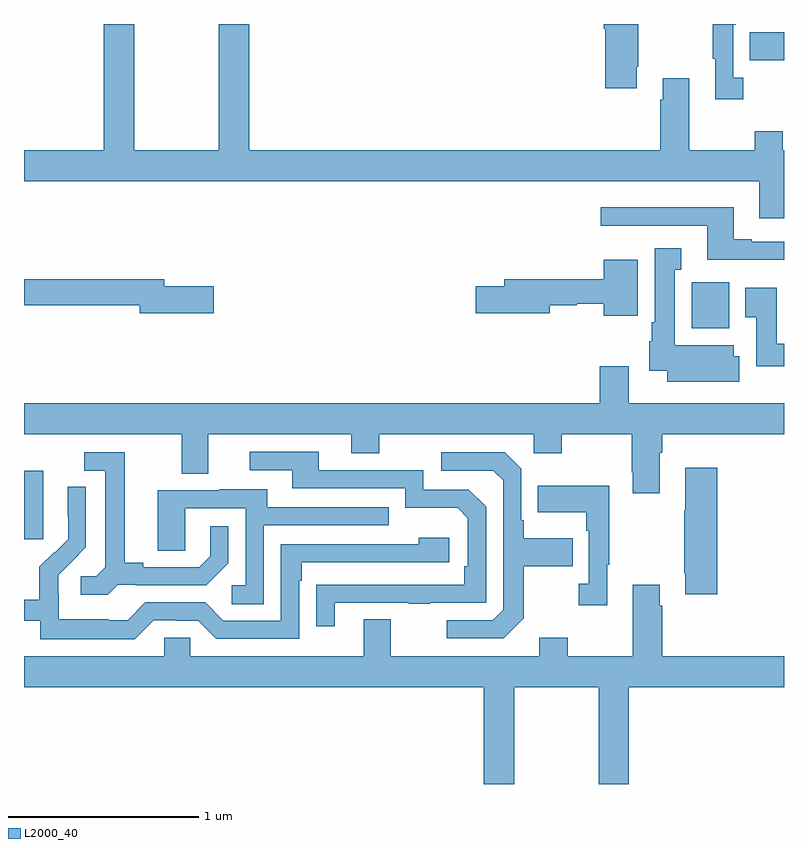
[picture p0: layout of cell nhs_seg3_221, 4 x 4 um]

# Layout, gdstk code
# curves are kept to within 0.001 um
import gdstk
lib = gdstk.Library(unit=1e-6, precision=1e-09)
def R(c, l, rs):  # rectangles x0, y0, x1, y1
    for r in rs: c.add(gdstk.rectangle(r[:2], r[2:], *l))
def P(c, l, *ps):  # polygons
    for p in ps: c.add(gdstk.Polygon(p, *l))
L2000_40 = (2000, 40)

nhs_seg3_221 = lib.new_cell('nhs_seg3_221')
R(nhs_seg3_221, L2000_40, [(121,709.689,121.102,710.05), (124.514,710.798,124.711,711.04), (124.819,712.21,125,712.357)])
P(nhs_seg3_221, L2000_40, [(124.225,712.174),(124.233,712.174),(124.233,712.4),(124.052,712.4),(124.052,712.374),(124.058,712.374),(124.058,712.062),(124.225,712.062)],
  [(124.786,712.118),(124.734,712.118),(124.734,712.397),(124.747,712.397),(124.747,712.4),(124.626,712.4),(124.626,712.217),(124.637,712.217),(124.637,712.005),(124.786,712.005)],
  [(125,711.736),(124.993,711.736),(124.993,711.835),(124.846,711.835),(124.846,711.736),(124.501,711.736),(124.501,712.114),(124.361,712.114),(124.361,712.001),(124.349,712.001),(124.349,711.736),(122.186,711.736),(122.186,712.4),(122.026,712.4),(122.026,711.736),(121.581,711.736),(121.581,712.4),(121.421,712.4),(121.421,711.736),(121,711.736),(121,711.572),(124.871,711.572),(124.871,711.378),(125,711.378)],
  [(125,711.255),(124.831,711.255),(124.831,711.268),(124.735,711.268),(124.735,711.436),(124.035,711.436),(124.035,711.339),(124.595,711.339),(124.595,711.158),(125,711.158)],
  [(124.765,710.651),(124.735,710.651),(124.735,710.71),(124.426,710.71),(124.426,711.107),(124.459,711.107),(124.459,711.22),(124.319,711.22),(124.319,710.83),(124.304,710.83),(124.304,710.73),(124.292,710.73),(124.292,710.576),(124.385,710.576),(124.385,710.516),(124.765,710.516)],
  [(124.231,711.16),(124.052,711.16),(124.052,711.056),(123.527,711.056),(123.527,711.02),(123.378,711.02),(123.378,710.878),(123.766,710.878),(123.766,710.92),(123.909,710.92),(123.909,710.928),(124.052,710.928),(124.052,710.864),(124.231,710.864)],
  [(121.999,711.02),(121.738,711.02),(121.738,711.056),(121,711.056),(121,710.92),(121.61,710.92),(121.61,710.878),(121.999,710.878)],
  [(125,710.716),(124.963,710.716),(124.963,711.013),(124.796,711.013),(124.796,710.857),(124.853,710.857),(124.853,710.598),(125,710.598)],
  [(121,710.24),(121.829,710.24),(121.829,710.032),(121.969,710.032),(121.969,710.24),(122.723,710.24),(122.723,710.141),(122.871,710.141),(122.871,710.24),(123.684,710.24),(123.684,710.141),(123.831,710.141),(123.831,710.24),(124.198,710.24),(124.198,710.041),(124.205,710.041),(124.205,709.929),(124.345,709.929),(124.345,710.144),(124.358,710.144),(124.358,710.24),(125,710.24),(125,710.404),(124.183,710.404),(124.183,710.599),(124.031,710.599),(124.031,710.404),(121,710.404)],
  [(122.635,709.353),(123.025,709.353),(123.025,709.348),(123.137,709.348),(123.137,709.353),(123.432,709.353),(123.432,709.86),(123.342,709.95),(123.102,709.95),(123.102,710.052),(122.551,710.052),(122.551,710.148),(122.187,710.148),(122.187,710.052),(122.411,710.052),(122.411,709.956),(123.006,709.956),(123.006,709.853),(123.283,709.853),(123.336,709.8),(123.336,709.546),(123.316,709.546),(123.316,709.449),(122.539,709.448),(122.539,709.23),(122.635,709.23)],
  [(123.631,709.273),(123.631,709.546),(123.887,709.546),(123.887,709.693),(123.631,709.693),(123.631,709.789),(123.618,709.789),(123.618,710.058),(123.531,710.145),(123.195,710.145),(123.195,710.049),(123.471,710.049),(123.522,709.998),(123.522,709.317),(123.468,709.263),(123.225,709.263),(123.225,709.167),(123.525,709.167)],
  [(121.494,709.449),(121.588,709.449),(121.588,709.446),(121.96,709.446),(122.076,709.562),(122.076,709.756),(121.979,709.756),(121.979,709.599),(121.922,709.542),(121.627,709.542),(121.627,709.565),(121.531,709.565),(121.531,710.145),(121.317,710.145),(121.317,710.049),(121.427,710.049),(121.427,709.541),(121.38,709.494),(121.299,709.494),(121.299,709.397),(121.442,709.397)],
  [(124.649,710.065),(124.481,710.065),(124.481,709.841),(124.474,709.841),(124.474,709.51),(124.481,709.51),(124.481,709.398),(124.649,709.398)],
  [(124.069,709.553),(124.081,709.553),(124.081,709.969),(123.703,709.969),(123.703,709.829),(123.96,709.829),(123.96,709.733),(123.972,709.733),(123.972,709.454),(123.921,709.454),(123.921,709.341),(124.069,709.341)],
  [(121.683,709.263),(121.799,709.263),(121.799,709.26),(121.917,709.26),(122.013,709.164),(122.448,709.164),(122.448,709.469),(122.461,709.469),(122.461,709.566),(123.238,709.566),(123.238,709.696),(123.077,709.696),(123.077,709.662),(122.352,709.662),(122.352,709.26),(122.049,709.26),(121.953,709.356),(121.638,709.356),(121.545,709.263),(121.445,709.263),(121.445,709.267),(121.182,709.267),(121.182,709.401),(121.18,709.401),(121.18,709.498),(121.326,709.646),(121.326,709.964),(121.23,709.964),(121.23,709.81),(121.232,709.81),(121.232,709.688),(121.161,709.617),(121.158,709.62),(121.081,709.543),(121.081,709.369),(121,709.369),(121,709.26),(121.086,709.26),(121.086,709.163),(121.583,709.163)],
  [(122.262,709.761),(122.921,709.761),(122.921,709.857),(122.281,709.857),(122.281,709.951),(122.027,709.951),(122.027,709.947),(121.703,709.947),(121.703,709.627),(121.848,709.627),(121.848,709.851),(122.166,709.851),(122.166,709.446),(122.094,709.446),(122.094,709.345),(122.262,709.345)],
  [(123.579,708.908),(124.024,708.908),(124.024,708.4),(124.184,708.4),(124.184,708.908),(125,708.908),(125,709.072),(124.358,709.072),(124.358,709.337),(124.345,709.337),(124.345,709.45),(124.205,709.45),(124.205,709.072),(123.861,709.072),(123.861,709.171),(123.713,709.171),(123.713,709.072),(122.929,709.072),(122.929,709.267),(122.789,709.267),(122.789,709.072),(121.875,709.072),(121.875,709.17),(121.737,709.17),(121.737,709.072),(121,709.072),(121,708.908),(123.419,708.908),(123.419,708.4),(123.579,708.4)])

lib.write_gds('nhs_seg3_221.gds')
